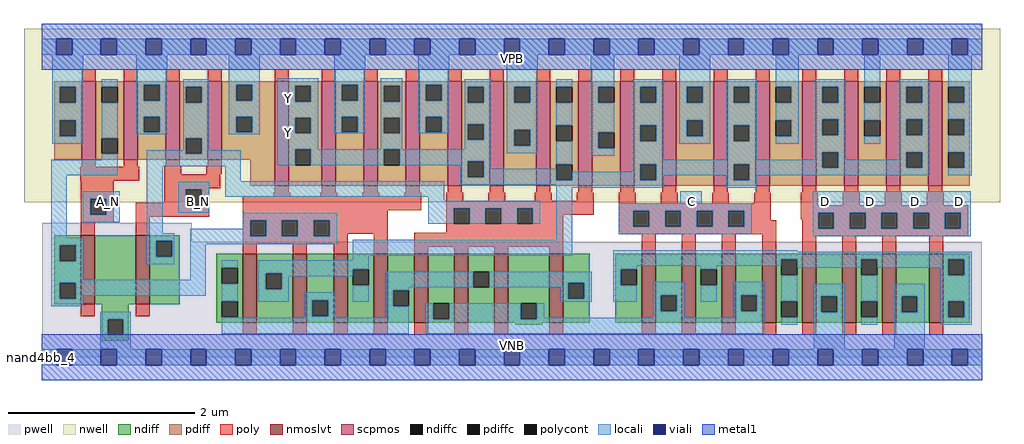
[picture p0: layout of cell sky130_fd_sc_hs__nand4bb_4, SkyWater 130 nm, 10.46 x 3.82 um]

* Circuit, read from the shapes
.subckt sky130_fd_sc_hs__nand4bb_4 A_N B_N C D VGND VNB VPB VPWR Y
XM1 VGND A_N n1 VNB sky130_fd_pr__nfet_01v8_lvt w=0.74 l=0.15
XM2 n2 B_N VGND VNB sky130_fd_pr__nfet_01v8_lvt w=0.74 l=0.15
XM3 Y n1 n3 VNB sky130_fd_pr__nfet_01v8_lvt w=0.74 l=0.15 m=4
XM4 n4 n2 n3 VNB sky130_fd_pr__nfet_01v8_lvt w=0.74 l=0.15 m=4
XM5 n4 C n5 VNB sky130_fd_pr__nfet_01v8_lvt w=0.74 l=0.15 m=4
XM6 VGND D n5 VNB sky130_fd_pr__nfet_01v8_lvt w=0.74 l=0.15 m=4
XM7 n1 A_N VPWR VPB sky130_fd_pr__pfet_01v8 w=0.84 l=0.15 m=2
XM8 n2 B_N VPWR VPB sky130_fd_pr__pfet_01v8 w=0.84 l=0.15 m=2
XM9 Y n1 VPWR VPB sky130_fd_pr__pfet_01v8 w=1.12 l=0.15 m=4
XM10 Y n2 VPWR VPB sky130_fd_pr__pfet_01v8 w=1.12 l=0.15 m=4
XM11 Y C VPWR VPB sky130_fd_pr__pfet_01v8 w=1.12 l=0.15 m=4
XM12 Y D VPWR VPB sky130_fd_pr__pfet_01v8 w=1.12 l=0.15 m=4
.ends

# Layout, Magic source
magic
tech sky130A
magscale 1 2
<< nwell >>
rect -38 332 2054 704
<< pwell >>
rect 1 248 322 288
rect 1 49 2015 248
rect 0 0 2016 49
<< scpmos >>
rect 86 424 116 592
rect 176 424 206 592
rect 266 424 296 592
rect 356 424 386 592
rect 500 368 530 592
rect 600 368 630 592
rect 690 368 720 592
rect 780 368 810 592
rect 870 368 900 592
rect 960 368 990 592
rect 1060 368 1090 592
rect 1150 368 1180 592
rect 1240 368 1270 592
rect 1330 368 1360 592
rect 1440 368 1470 592
rect 1530 368 1560 592
rect 1630 368 1660 592
rect 1720 368 1750 592
rect 1810 368 1840 592
rect 1900 368 1930 592
<< nmoslvt >>
rect 84 114 114 262
rect 202 114 232 262
rect 431 74 461 222
rect 538 74 568 222
rect 626 74 656 222
rect 712 74 742 222
rect 798 74 828 222
rect 884 74 914 222
rect 970 74 1000 222
rect 1088 74 1118 222
rect 1286 74 1316 222
rect 1372 74 1402 222
rect 1458 74 1488 222
rect 1544 74 1574 222
rect 1630 74 1660 222
rect 1716 74 1746 222
rect 1802 74 1832 222
rect 1902 74 1932 222
<< ndiff >>
rect 27 240 84 262
rect 27 206 39 240
rect 73 206 84 240
rect 27 160 84 206
rect 27 126 39 160
rect 73 126 84 160
rect 27 114 84 126
rect 114 114 202 262
rect 232 250 296 262
rect 232 216 246 250
rect 280 216 296 250
rect 232 114 296 216
rect 374 192 431 222
rect 374 158 386 192
rect 420 158 431 192
rect 374 120 431 158
rect 129 82 187 114
rect 129 48 141 82
rect 175 48 187 82
rect 374 86 386 120
rect 420 86 431 120
rect 374 74 431 86
rect 461 180 538 222
rect 461 146 480 180
rect 514 146 538 180
rect 461 74 538 146
rect 568 122 626 222
rect 568 88 580 122
rect 614 88 626 122
rect 568 74 626 88
rect 656 189 712 222
rect 656 155 667 189
rect 701 155 712 189
rect 656 74 712 155
rect 742 144 798 222
rect 742 110 753 144
rect 787 110 798 144
rect 742 74 798 110
rect 828 116 884 222
rect 828 82 839 116
rect 873 82 884 116
rect 828 74 884 82
rect 914 184 970 222
rect 914 150 925 184
rect 959 150 970 184
rect 914 74 970 150
rect 1000 116 1088 222
rect 1000 82 1027 116
rect 1061 82 1088 116
rect 1000 74 1088 82
rect 1118 160 1175 222
rect 1118 126 1129 160
rect 1163 126 1175 160
rect 1118 74 1175 126
rect 1229 189 1286 222
rect 1229 155 1241 189
rect 1275 155 1286 189
rect 1229 74 1286 155
rect 1316 133 1372 222
rect 1316 99 1327 133
rect 1361 99 1372 133
rect 1316 74 1372 99
rect 1402 189 1458 222
rect 1402 155 1413 189
rect 1447 155 1458 189
rect 1402 74 1458 155
rect 1488 133 1544 222
rect 1488 99 1499 133
rect 1533 99 1544 133
rect 1488 74 1544 99
rect 1574 210 1630 222
rect 1574 176 1585 210
rect 1619 176 1630 210
rect 1574 120 1630 176
rect 1574 86 1585 120
rect 1619 86 1630 120
rect 1574 74 1630 86
rect 1660 131 1716 222
rect 1660 97 1671 131
rect 1705 97 1716 131
rect 1660 74 1716 97
rect 1746 210 1802 222
rect 1746 176 1757 210
rect 1791 176 1802 210
rect 1746 120 1802 176
rect 1746 86 1757 120
rect 1791 86 1802 120
rect 1746 74 1802 86
rect 1832 131 1902 222
rect 1832 97 1843 131
rect 1877 97 1902 131
rect 1832 74 1902 97
rect 1932 210 1989 222
rect 1932 176 1943 210
rect 1977 176 1989 210
rect 1932 120 1989 176
rect 1932 86 1943 120
rect 1977 86 1989 120
rect 1932 74 1989 86
rect 1015 70 1073 74
rect 129 36 187 48
<< pdiff >>
rect 27 580 86 592
rect 27 546 39 580
rect 73 546 86 580
rect 27 508 86 546
rect 27 474 39 508
rect 73 474 86 508
rect 27 424 86 474
rect 116 580 176 592
rect 116 546 129 580
rect 163 546 176 580
rect 116 470 176 546
rect 116 436 129 470
rect 163 436 176 470
rect 116 424 176 436
rect 206 584 266 592
rect 206 550 219 584
rect 253 550 266 584
rect 206 516 266 550
rect 206 482 219 516
rect 253 482 266 516
rect 206 424 266 482
rect 296 580 356 592
rect 296 546 309 580
rect 343 546 356 580
rect 296 470 356 546
rect 296 436 309 470
rect 343 436 356 470
rect 296 424 356 436
rect 386 584 500 592
rect 386 550 417 584
rect 451 550 500 584
rect 386 516 500 550
rect 386 482 417 516
rect 451 482 500 516
rect 386 424 500 482
rect 447 368 500 424
rect 530 582 600 592
rect 530 548 543 582
rect 577 548 600 582
rect 530 514 600 548
rect 530 480 543 514
rect 577 480 600 514
rect 530 446 600 480
rect 530 412 543 446
rect 577 412 600 446
rect 530 368 600 412
rect 630 584 690 592
rect 630 550 643 584
rect 677 550 690 584
rect 630 516 690 550
rect 630 482 643 516
rect 677 482 690 516
rect 630 368 690 482
rect 720 582 780 592
rect 720 548 733 582
rect 767 548 780 582
rect 720 514 780 548
rect 720 480 733 514
rect 767 480 780 514
rect 720 446 780 480
rect 720 412 733 446
rect 767 412 780 446
rect 720 368 780 412
rect 810 584 870 592
rect 810 550 823 584
rect 857 550 870 584
rect 810 516 870 550
rect 810 482 823 516
rect 857 482 870 516
rect 810 368 870 482
rect 900 580 960 592
rect 900 546 913 580
rect 947 546 960 580
rect 900 500 960 546
rect 900 466 913 500
rect 947 466 960 500
rect 900 420 960 466
rect 900 386 913 420
rect 947 386 960 420
rect 900 368 960 386
rect 990 580 1060 592
rect 990 546 1013 580
rect 1047 546 1060 580
rect 990 488 1060 546
rect 990 454 1013 488
rect 1047 454 1060 488
rect 990 368 1060 454
rect 1090 580 1150 592
rect 1090 546 1103 580
rect 1137 546 1150 580
rect 1090 497 1150 546
rect 1090 463 1103 497
rect 1137 463 1150 497
rect 1090 414 1150 463
rect 1090 380 1103 414
rect 1137 380 1150 414
rect 1090 368 1150 380
rect 1180 580 1240 592
rect 1180 546 1193 580
rect 1227 546 1240 580
rect 1180 482 1240 546
rect 1180 448 1193 482
rect 1227 448 1240 482
rect 1180 368 1240 448
rect 1270 580 1330 592
rect 1270 546 1283 580
rect 1317 546 1330 580
rect 1270 497 1330 546
rect 1270 463 1283 497
rect 1317 463 1330 497
rect 1270 414 1330 463
rect 1270 380 1283 414
rect 1317 380 1330 414
rect 1270 368 1330 380
rect 1360 580 1440 592
rect 1360 546 1383 580
rect 1417 546 1440 580
rect 1360 508 1440 546
rect 1360 474 1383 508
rect 1417 474 1440 508
rect 1360 368 1440 474
rect 1470 580 1530 592
rect 1470 546 1483 580
rect 1517 546 1530 580
rect 1470 497 1530 546
rect 1470 463 1483 497
rect 1517 463 1530 497
rect 1470 414 1530 463
rect 1470 380 1483 414
rect 1517 380 1530 414
rect 1470 368 1530 380
rect 1560 580 1630 592
rect 1560 546 1573 580
rect 1607 546 1630 580
rect 1560 508 1630 546
rect 1560 474 1573 508
rect 1607 474 1630 508
rect 1560 368 1630 474
rect 1660 580 1720 592
rect 1660 546 1673 580
rect 1707 546 1720 580
rect 1660 510 1720 546
rect 1660 476 1673 510
rect 1707 476 1720 510
rect 1660 440 1720 476
rect 1660 406 1673 440
rect 1707 406 1720 440
rect 1660 368 1720 406
rect 1750 580 1810 592
rect 1750 546 1763 580
rect 1797 546 1810 580
rect 1750 508 1810 546
rect 1750 474 1763 508
rect 1797 474 1810 508
rect 1750 368 1810 474
rect 1840 580 1900 592
rect 1840 546 1853 580
rect 1887 546 1900 580
rect 1840 510 1900 546
rect 1840 476 1853 510
rect 1887 476 1900 510
rect 1840 440 1900 476
rect 1840 406 1853 440
rect 1887 406 1900 440
rect 1840 368 1900 406
rect 1930 580 1989 592
rect 1930 546 1943 580
rect 1977 546 1989 580
rect 1930 510 1989 546
rect 1930 476 1943 510
rect 1977 476 1989 510
rect 1930 440 1989 476
rect 1930 406 1943 440
rect 1977 406 1989 440
rect 1930 368 1989 406
<< ndiffc >>
rect 39 206 73 240
rect 39 126 73 160
rect 246 216 280 250
rect 386 158 420 192
rect 141 48 175 82
rect 386 86 420 120
rect 480 146 514 180
rect 580 88 614 122
rect 667 155 701 189
rect 753 110 787 144
rect 839 82 873 116
rect 925 150 959 184
rect 1027 82 1061 116
rect 1129 126 1163 160
rect 1241 155 1275 189
rect 1327 99 1361 133
rect 1413 155 1447 189
rect 1499 99 1533 133
rect 1585 176 1619 210
rect 1585 86 1619 120
rect 1671 97 1705 131
rect 1757 176 1791 210
rect 1757 86 1791 120
rect 1843 97 1877 131
rect 1943 176 1977 210
rect 1943 86 1977 120
<< pdiffc >>
rect 39 546 73 580
rect 39 474 73 508
rect 129 546 163 580
rect 129 436 163 470
rect 219 550 253 584
rect 219 482 253 516
rect 309 546 343 580
rect 309 436 343 470
rect 417 550 451 584
rect 417 482 451 516
rect 543 548 577 582
rect 543 480 577 514
rect 543 412 577 446
rect 643 550 677 584
rect 643 482 677 516
rect 733 548 767 582
rect 733 480 767 514
rect 733 412 767 446
rect 823 550 857 584
rect 823 482 857 516
rect 913 546 947 580
rect 913 466 947 500
rect 913 386 947 420
rect 1013 546 1047 580
rect 1013 454 1047 488
rect 1103 546 1137 580
rect 1103 463 1137 497
rect 1103 380 1137 414
rect 1193 546 1227 580
rect 1193 448 1227 482
rect 1283 546 1317 580
rect 1283 463 1317 497
rect 1283 380 1317 414
rect 1383 546 1417 580
rect 1383 474 1417 508
rect 1483 546 1517 580
rect 1483 463 1517 497
rect 1483 380 1517 414
rect 1573 546 1607 580
rect 1573 474 1607 508
rect 1673 546 1707 580
rect 1673 476 1707 510
rect 1673 406 1707 440
rect 1763 546 1797 580
rect 1763 474 1797 508
rect 1853 546 1887 580
rect 1853 476 1887 510
rect 1853 406 1887 440
rect 1943 546 1977 580
rect 1943 476 1977 510
rect 1943 406 1977 440
<< poly >>
rect 86 592 116 618
rect 176 592 206 618
rect 266 592 296 618
rect 356 592 386 618
rect 500 592 530 618
rect 600 592 630 618
rect 690 592 720 618
rect 780 592 810 618
rect 870 592 900 618
rect 960 592 990 618
rect 1060 592 1090 618
rect 1150 592 1180 618
rect 1240 592 1270 618
rect 1330 592 1360 618
rect 1440 592 1470 618
rect 1530 592 1560 618
rect 1630 592 1660 618
rect 1720 592 1750 618
rect 1810 592 1840 618
rect 1900 592 1930 618
rect 86 409 116 424
rect 176 409 206 424
rect 266 409 296 424
rect 356 409 386 424
rect 83 379 209 409
rect 263 393 299 409
rect 353 393 386 409
rect 84 340 154 379
rect 84 306 104 340
rect 138 306 154 340
rect 263 363 383 393
rect 263 360 359 363
rect 263 331 309 360
rect 84 290 154 306
rect 202 326 309 331
rect 343 326 359 360
rect 500 353 530 368
rect 600 353 630 368
rect 690 353 720 368
rect 780 353 810 368
rect 870 353 900 368
rect 960 353 990 368
rect 1060 353 1090 368
rect 1150 353 1180 368
rect 1240 353 1270 368
rect 1330 353 1360 368
rect 1440 353 1470 368
rect 1530 353 1560 368
rect 1630 353 1660 368
rect 1720 353 1750 368
rect 1810 353 1840 368
rect 1900 353 1930 368
rect 497 345 533 353
rect 597 345 633 353
rect 687 345 723 353
rect 777 345 813 353
rect 202 301 359 326
rect 431 315 813 345
rect 867 336 903 353
rect 957 336 993 353
rect 1057 336 1093 353
rect 1147 336 1183 353
rect 867 320 1183 336
rect 84 262 114 290
rect 202 262 232 301
rect 431 294 742 315
rect 431 260 447 294
rect 481 260 515 294
rect 549 260 583 294
rect 617 265 742 294
rect 867 286 883 320
rect 917 286 951 320
rect 985 286 1019 320
rect 1053 306 1183 320
rect 1237 330 1273 353
rect 1327 330 1363 353
rect 1437 330 1473 353
rect 1527 330 1563 353
rect 1237 314 1563 330
rect 1053 286 1118 306
rect 867 267 1118 286
rect 617 260 656 265
rect 431 244 656 260
rect 431 222 461 244
rect 538 222 568 244
rect 626 222 656 244
rect 712 222 742 265
rect 798 237 1118 267
rect 1237 280 1268 314
rect 1302 280 1336 314
rect 1370 280 1404 314
rect 1438 280 1472 314
rect 1506 294 1563 314
rect 1627 326 1663 353
rect 1717 326 1753 353
rect 1807 326 1843 353
rect 1897 326 1933 353
rect 1627 310 1986 326
rect 1627 296 1664 310
rect 1506 280 1574 294
rect 1237 264 1574 280
rect 798 222 828 237
rect 884 222 914 237
rect 970 222 1000 237
rect 1088 222 1118 237
rect 1286 222 1316 264
rect 1372 222 1402 264
rect 1458 222 1488 264
rect 1544 222 1574 264
rect 1630 276 1664 296
rect 1698 276 1732 310
rect 1766 276 1800 310
rect 1834 276 1868 310
rect 1902 276 1936 310
rect 1970 276 1986 310
rect 1630 260 1986 276
rect 1630 222 1660 260
rect 1716 222 1746 260
rect 1802 222 1832 260
rect 1902 222 1932 260
rect 84 88 114 114
rect 202 88 232 114
rect 431 48 461 74
rect 538 48 568 74
rect 626 48 656 74
rect 712 48 742 74
rect 798 48 828 74
rect 884 48 914 74
rect 970 48 1000 74
rect 1088 48 1118 74
rect 1286 48 1316 74
rect 1372 48 1402 74
rect 1458 48 1488 74
rect 1544 48 1574 74
rect 1630 48 1660 74
rect 1716 48 1746 74
rect 1802 48 1832 74
rect 1902 48 1932 74
<< polycont >>
rect 104 306 138 340
rect 309 326 343 360
rect 447 260 481 294
rect 515 260 549 294
rect 583 260 617 294
rect 883 286 917 320
rect 951 286 985 320
rect 1019 286 1053 320
rect 1268 280 1302 314
rect 1336 280 1370 314
rect 1404 280 1438 314
rect 1472 280 1506 314
rect 1664 276 1698 310
rect 1732 276 1766 310
rect 1800 276 1834 310
rect 1868 276 1902 310
rect 1936 276 1970 310
<< locali >>
rect 0 649 31 683
rect 65 649 127 683
rect 161 649 223 683
rect 257 649 319 683
rect 353 649 415 683
rect 449 649 511 683
rect 545 649 607 683
rect 641 649 703 683
rect 737 649 799 683
rect 833 649 895 683
rect 929 649 991 683
rect 1025 649 1087 683
rect 1121 649 1183 683
rect 1217 649 1279 683
rect 1313 649 1375 683
rect 1409 649 1471 683
rect 1505 649 1567 683
rect 1601 649 1663 683
rect 1697 649 1759 683
rect 1793 649 1855 683
rect 1889 649 1951 683
rect 1985 649 2016 683
rect 23 580 89 649
rect 23 546 39 580
rect 73 546 89 580
rect 23 508 89 546
rect 23 474 39 508
rect 73 474 89 508
rect 23 458 89 474
rect 129 580 163 596
rect 129 470 163 546
rect 203 584 269 649
rect 203 550 219 584
rect 253 550 269 584
rect 203 516 269 550
rect 203 482 219 516
rect 253 482 269 516
rect 203 478 269 482
rect 303 580 359 596
rect 303 546 309 580
rect 343 546 359 580
rect 303 470 359 546
rect 401 584 467 649
rect 401 550 417 584
rect 451 550 467 584
rect 401 516 467 550
rect 401 482 417 516
rect 451 482 467 516
rect 401 478 467 482
rect 505 582 593 598
rect 505 548 543 582
rect 577 548 593 582
rect 505 514 593 548
rect 505 480 543 514
rect 577 480 593 514
rect 627 584 693 649
rect 627 550 643 584
rect 677 550 693 584
rect 627 516 693 550
rect 627 482 643 516
rect 677 482 693 516
rect 627 480 693 482
rect 727 582 773 598
rect 727 548 733 582
rect 767 548 773 582
rect 727 514 773 548
rect 727 480 733 514
rect 767 480 773 514
rect 807 584 873 649
rect 807 550 823 584
rect 857 550 873 584
rect 807 516 873 550
rect 807 482 823 516
rect 857 482 873 516
rect 807 480 873 482
rect 907 580 963 596
rect 907 546 913 580
rect 947 546 963 580
rect 907 500 963 546
rect 303 444 309 470
rect 129 424 163 436
rect 20 390 163 424
rect 225 436 309 444
rect 343 444 359 470
rect 505 446 593 480
rect 727 446 773 480
rect 907 466 913 500
rect 947 466 963 500
rect 907 446 963 466
rect 343 436 427 444
rect 225 410 427 436
rect 505 412 543 446
rect 577 412 733 446
rect 767 420 963 446
rect 997 580 1063 649
rect 997 546 1013 580
rect 1047 546 1063 580
rect 997 488 1063 546
rect 997 454 1013 488
rect 1047 454 1063 488
rect 997 438 1063 454
rect 1103 580 1137 596
rect 1103 497 1137 546
rect 767 412 913 420
rect 20 256 54 390
rect 88 340 167 356
rect 88 306 104 340
rect 138 306 167 340
rect 88 290 167 306
rect 225 266 259 410
rect 393 378 427 410
rect 897 386 913 412
rect 947 404 963 420
rect 1103 414 1137 463
rect 1177 580 1227 649
rect 1177 546 1193 580
rect 1177 482 1227 546
rect 1177 448 1193 482
rect 1177 432 1227 448
rect 1267 580 1333 596
rect 1267 546 1283 580
rect 1317 546 1333 580
rect 1267 497 1333 546
rect 1267 463 1283 497
rect 1317 463 1333 497
rect 947 386 1103 404
rect 897 380 1103 386
rect 1267 424 1333 463
rect 1367 580 1433 649
rect 1367 546 1383 580
rect 1417 546 1433 580
rect 1367 508 1433 546
rect 1367 474 1383 508
rect 1417 474 1433 508
rect 1367 458 1433 474
rect 1467 580 1533 596
rect 1467 546 1483 580
rect 1517 546 1533 580
rect 1467 497 1533 546
rect 1467 463 1483 497
rect 1517 463 1533 497
rect 1467 424 1533 463
rect 1573 580 1623 649
rect 1607 546 1623 580
rect 1573 508 1623 546
rect 1607 474 1623 508
rect 1573 458 1623 474
rect 1657 580 1723 596
rect 1657 546 1673 580
rect 1707 546 1723 580
rect 1657 510 1723 546
rect 1657 476 1673 510
rect 1707 476 1723 510
rect 1657 440 1723 476
rect 1763 580 1797 649
rect 1763 508 1797 546
rect 1763 458 1797 474
rect 1837 580 1903 596
rect 1837 546 1853 580
rect 1887 546 1903 580
rect 1837 510 1903 546
rect 1837 476 1853 510
rect 1887 476 1903 510
rect 1657 424 1673 440
rect 1267 414 1673 424
rect 1267 398 1283 414
rect 1137 380 1283 398
rect 1317 390 1483 414
rect 1317 380 1333 390
rect 293 360 359 376
rect 293 326 309 360
rect 343 326 359 360
rect 393 344 863 378
rect 897 370 1333 380
rect 293 310 359 326
rect 829 336 863 344
rect 1103 364 1333 370
rect 1467 380 1483 390
rect 1517 406 1673 414
rect 1707 424 1723 440
rect 1837 440 1903 476
rect 1837 424 1853 440
rect 1707 406 1853 424
rect 1887 406 1903 440
rect 1517 390 1903 406
rect 1943 580 1993 649
rect 1977 546 1993 580
rect 1943 510 1993 546
rect 1977 476 1993 510
rect 1943 440 1993 476
rect 1977 406 1993 440
rect 1943 390 1993 406
rect 1517 380 1533 390
rect 1467 364 1533 380
rect 829 320 1069 336
rect 431 294 633 310
rect 431 276 447 294
rect 20 240 89 256
rect 20 206 39 240
rect 73 206 89 240
rect 20 166 89 206
rect 225 250 284 266
rect 225 216 246 250
rect 280 216 284 250
rect 225 200 284 216
rect 318 260 447 276
rect 481 260 515 294
rect 549 260 583 294
rect 617 260 633 294
rect 829 286 883 320
rect 917 286 951 320
rect 985 286 1019 320
rect 1053 286 1069 320
rect 318 242 633 260
rect 1103 252 1137 364
rect 1369 330 1415 356
rect 1237 314 1522 330
rect 1237 280 1268 314
rect 1302 280 1336 314
rect 1370 280 1404 314
rect 1438 280 1472 314
rect 1506 280 1522 314
rect 1237 264 1522 280
rect 1653 310 1991 356
rect 1653 276 1664 310
rect 1698 276 1732 310
rect 1766 276 1800 310
rect 1834 276 1868 310
rect 1902 276 1936 310
rect 1970 276 1991 310
rect 1653 260 1991 276
rect 318 166 352 242
rect 667 218 1137 252
rect 1225 226 1619 230
rect 667 208 701 218
rect 20 160 352 166
rect 20 126 39 160
rect 73 132 352 160
rect 386 192 420 208
rect 73 126 89 132
rect 20 110 89 126
rect 386 120 420 158
rect 125 82 191 98
rect 125 48 141 82
rect 175 48 191 82
rect 464 189 701 208
rect 464 180 667 189
rect 464 146 480 180
rect 514 174 667 180
rect 514 146 530 174
rect 464 119 530 146
rect 1225 210 1993 226
rect 1225 196 1585 210
rect 1225 189 1275 196
rect 564 122 630 140
rect 386 85 420 86
rect 564 88 580 122
rect 614 88 630 122
rect 667 119 701 155
rect 737 150 925 184
rect 959 160 1179 184
rect 959 150 1129 160
rect 737 144 787 150
rect 564 85 630 88
rect 737 110 753 144
rect 1113 126 1129 150
rect 1163 126 1179 160
rect 1113 119 1179 126
rect 1225 155 1241 189
rect 1413 189 1447 196
rect 1225 119 1275 155
rect 1311 133 1377 162
rect 737 85 787 110
rect 386 51 787 85
rect 823 82 839 116
rect 873 82 1027 116
rect 1061 85 1077 116
rect 1311 99 1327 133
rect 1361 99 1377 133
rect 1619 192 1757 210
rect 1413 119 1447 155
rect 1483 133 1549 162
rect 1311 85 1377 99
rect 1483 99 1499 133
rect 1533 99 1549 133
rect 1483 85 1549 99
rect 1061 82 1549 85
rect 823 51 1549 82
rect 1585 120 1619 176
rect 1791 192 1943 210
rect 1585 70 1619 86
rect 1655 131 1721 158
rect 1655 97 1671 131
rect 1705 97 1721 131
rect 125 17 191 48
rect 1655 17 1721 97
rect 1757 120 1791 176
rect 1927 176 1943 192
rect 1977 176 1993 210
rect 1757 70 1791 86
rect 1827 131 1893 158
rect 1827 97 1843 131
rect 1877 97 1893 131
rect 1827 17 1893 97
rect 1927 120 1993 176
rect 1927 86 1943 120
rect 1977 86 1993 120
rect 1927 70 1993 86
rect 0 -17 31 17
rect 65 -17 127 17
rect 161 -17 223 17
rect 257 -17 319 17
rect 353 -17 415 17
rect 449 -17 511 17
rect 545 -17 607 17
rect 641 -17 703 17
rect 737 -17 799 17
rect 833 -17 895 17
rect 929 -17 991 17
rect 1025 -17 1087 17
rect 1121 -17 1183 17
rect 1217 -17 1279 17
rect 1313 -17 1375 17
rect 1409 -17 1471 17
rect 1505 -17 1567 17
rect 1601 -17 1663 17
rect 1697 -17 1759 17
rect 1793 -17 1855 17
rect 1889 -17 1951 17
rect 1985 -17 2016 17
<< viali >>
rect 31 649 65 683
rect 127 649 161 683
rect 223 649 257 683
rect 319 649 353 683
rect 415 649 449 683
rect 511 649 545 683
rect 607 649 641 683
rect 703 649 737 683
rect 799 649 833 683
rect 895 649 929 683
rect 991 649 1025 683
rect 1087 649 1121 683
rect 1183 649 1217 683
rect 1279 649 1313 683
rect 1375 649 1409 683
rect 1471 649 1505 683
rect 1567 649 1601 683
rect 1663 649 1697 683
rect 1759 649 1793 683
rect 1855 649 1889 683
rect 1951 649 1985 683
rect 31 -17 65 17
rect 127 -17 161 17
rect 223 -17 257 17
rect 319 -17 353 17
rect 415 -17 449 17
rect 511 -17 545 17
rect 607 -17 641 17
rect 703 -17 737 17
rect 799 -17 833 17
rect 895 -17 929 17
rect 991 -17 1025 17
rect 1087 -17 1121 17
rect 1183 -17 1217 17
rect 1279 -17 1313 17
rect 1375 -17 1409 17
rect 1471 -17 1505 17
rect 1567 -17 1601 17
rect 1663 -17 1697 17
rect 1759 -17 1793 17
rect 1855 -17 1889 17
rect 1951 -17 1985 17
<< metal1 >>
rect 0 683 2016 715
rect 0 649 31 683
rect 65 649 127 683
rect 161 649 223 683
rect 257 649 319 683
rect 353 649 415 683
rect 449 649 511 683
rect 545 649 607 683
rect 641 649 703 683
rect 737 649 799 683
rect 833 649 895 683
rect 929 649 991 683
rect 1025 649 1087 683
rect 1121 649 1183 683
rect 1217 649 1279 683
rect 1313 649 1375 683
rect 1409 649 1471 683
rect 1505 649 1567 683
rect 1601 649 1663 683
rect 1697 649 1759 683
rect 1793 649 1855 683
rect 1889 649 1951 683
rect 1985 649 2016 683
rect 0 617 2016 649
rect 0 17 2016 49
rect 0 -17 31 17
rect 65 -17 127 17
rect 161 -17 223 17
rect 257 -17 319 17
rect 353 -17 415 17
rect 449 -17 511 17
rect 545 -17 607 17
rect 641 -17 703 17
rect 737 -17 799 17
rect 833 -17 895 17
rect 929 -17 991 17
rect 1025 -17 1087 17
rect 1121 -17 1183 17
rect 1217 -17 1279 17
rect 1313 -17 1375 17
rect 1409 -17 1471 17
rect 1505 -17 1567 17
rect 1601 -17 1663 17
rect 1697 -17 1759 17
rect 1793 -17 1855 17
rect 1889 -17 1951 17
rect 1985 -17 2016 17
rect 0 -49 2016 -17
<< labels >>
rlabel comment s 0 0 0 0 4 nand4bb_4
flabel pwell s 0 0 2016 49 0 FreeSans 200 0 0 0 VNB
port 6 nsew ground bidirectional
flabel nwell s 0 617 2016 666 0 FreeSans 200 0 0 0 VPB
port 7 nsew power bidirectional
flabel metal1 s 0 617 2016 666 0 FreeSans 340 0 0 0 VPWR
port 8 nsew power bidirectional
flabel metal1 s 0 0 2016 49 0 FreeSans 340 0 0 0 VGND
port 5 nsew ground bidirectional
flabel locali s 1375 316 1409 350 0 FreeSans 340 0 0 0 C
port 3 nsew signal input
flabel locali s 1663 316 1697 350 0 FreeSans 340 0 0 0 D
port 4 nsew signal input
flabel locali s 1759 316 1793 350 0 FreeSans 340 0 0 0 D
port 4 nsew signal input
flabel locali s 1855 316 1889 350 0 FreeSans 340 0 0 0 D
port 4 nsew signal input
flabel locali s 1951 316 1985 350 0 FreeSans 340 0 0 0 D
port 4 nsew signal input
flabel locali s 127 316 161 350 0 FreeSans 340 0 0 0 A_N
port 1 nsew signal input
flabel locali s 319 316 353 350 0 FreeSans 340 0 0 0 B_N
port 2 nsew signal input
flabel locali s 511 464 545 498 0 FreeSans 340 0 0 0 Y
port 9 nsew signal output
flabel locali s 511 538 545 572 0 FreeSans 340 0 0 0 Y
port 9 nsew signal output
<< properties >>
string LEFsite unit
string LEFclass CORE
string FIXED_BBOX 0 0 2016 666
string GDS_FILE $PDKPATH/libs.ref/sky130_fd_sc_hs/gds/sky130_fd_sc_hs.gds
string LEFsymmetry X Y
string GDS_END 3801150
string GDS_START 3785244
<< end >>
